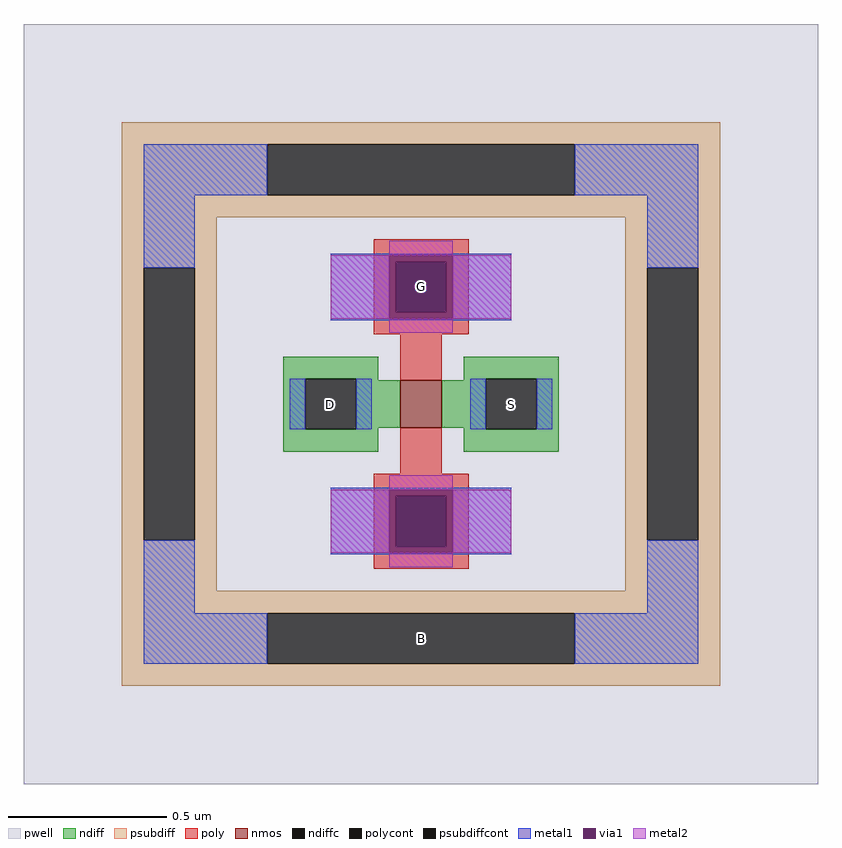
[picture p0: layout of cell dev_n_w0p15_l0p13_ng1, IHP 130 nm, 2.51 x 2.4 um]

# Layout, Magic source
magic
tech ihp-sg13cmos5l
magscale 1 2
<< pwell >>
rect -251 -240 251 240
<< nmos >>
rect -13 -15 13 15
<< ndiff >>
rect -87 16 -27 30
rect -87 -16 -73 16
rect -41 15 -27 16
rect 27 16 87 30
rect 27 15 41 16
rect -41 -15 -13 15
rect 13 -15 41 15
rect -41 -16 -27 -15
rect -87 -30 -27 -16
rect 27 -16 41 -15
rect 73 -16 87 16
rect 27 -30 87 -16
<< ndiffc >>
rect -73 -16 -41 16
rect 41 -16 73 16
<< psubdiff >>
rect -189 164 189 178
rect -189 132 -97 164
rect 97 132 189 164
rect -189 118 189 132
rect -189 86 -129 118
rect -189 -86 -175 86
rect -143 -86 -129 86
rect 129 86 189 118
rect -189 -118 -129 -86
rect 129 -86 143 86
rect 175 -86 189 86
rect 129 -118 189 -86
rect -189 -132 189 -118
rect -189 -164 -97 -132
rect 97 -164 189 -132
rect -189 -178 189 -164
<< psubdiffcont >>
rect -97 132 97 164
rect -175 -86 -143 86
rect 143 -86 175 86
rect -97 -164 97 -132
<< poly >>
rect -30 90 30 104
rect -30 58 -16 90
rect 16 58 30 90
rect -30 44 30 58
rect -13 15 13 44
rect -13 -44 13 -15
rect -30 -58 30 -44
rect -30 -90 -16 -58
rect 16 -90 30 -58
rect -30 -104 30 -90
<< polycont >>
rect -16 58 16 90
rect -16 -90 16 -58
<< metal1 >>
rect -175 132 -97 164
rect 97 132 175 164
rect -175 86 -143 132
rect -57 94 57 95
rect -57 54 -20 94
rect 20 54 57 94
rect -57 53 57 54
rect 143 86 175 132
rect -83 -16 -73 16
rect -41 -16 -31 16
rect 31 -16 41 16
rect 73 -16 83 16
rect -175 -132 -143 -86
rect -57 -54 57 -53
rect -57 -94 -20 -54
rect 20 -94 57 -54
rect -57 -95 57 -94
rect 143 -132 175 -86
rect -175 -164 -97 -132
rect 97 -164 175 -132
<< via1 >>
rect -20 90 20 94
rect -20 58 -16 90
rect -16 58 16 90
rect 16 58 20 90
rect -20 54 20 58
rect -20 -58 20 -54
rect -20 -90 -16 -58
rect -16 -90 16 -58
rect 16 -90 20 -58
rect -20 -94 20 -90
<< metal2 >>
rect -20 94 20 103
rect -57 54 -20 94
rect 20 54 57 94
rect -20 45 20 54
rect -20 -54 20 -45
rect -57 -94 -20 -54
rect 20 -94 57 -54
rect -20 -103 20 -94
<< labels >>
rlabel psubdiffcont 0 -148 0 -148 0 B
port 1 nsew
rlabel ndiffc -57 0 -57 0 0 D
port 2 nsew
rlabel ndiffc 57 0 57 0 0 S
port 3 nsew
rlabel polycont 0 74 0 74 0 G
port 4 nsew
<< properties >>
string FIXED_BBOX -159 -148 159 148
string gencell sg13_lv_nmos
string library sg13cmos5l
string parameters w 0.15 l 0.13 m 1 ng 1 diffcov 100 polycov 100 guard 1 glc 1 grc 1 gtc 1 gbc 1 tbcov 100 rlcov 100 topc 1 botc 1 poverlap 0 doverlap 1 lmin 0.13 wmin 0.15 class mosfet compatible {sg13_lv_nmos sg13_hv_nmos} full_metal 1 conn_gates 1 gate_ring 0 doports 1 viasrc 0 viadrn 0 viagate 100 ccols 1 viagb 0 viagr 0 viagl 0 viagt 0
<< end >>
